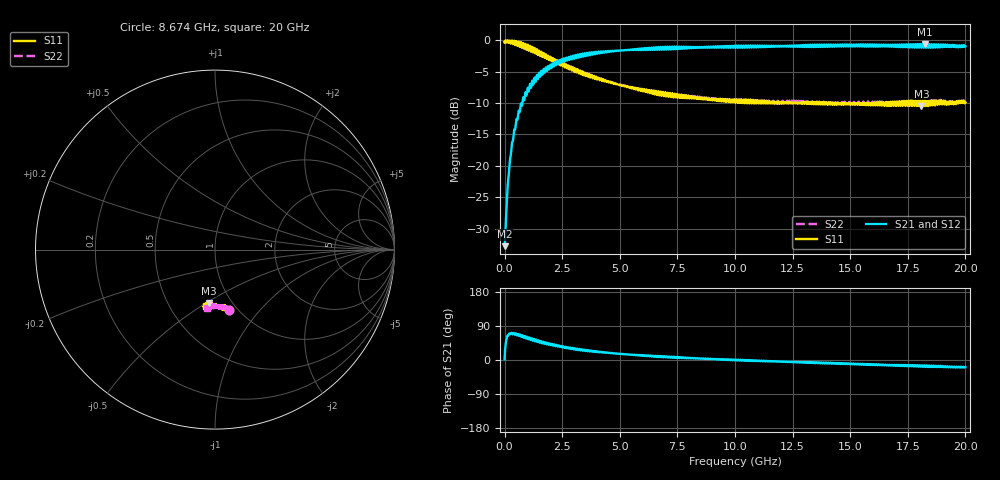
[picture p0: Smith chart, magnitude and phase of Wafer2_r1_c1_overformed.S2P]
!  2-Port S-parameters saved by WinCal
! VAR MeasName=S-Parameters (CALIBRATED_DATA) read from VNA (P5004A)
! VAR MeasDate=24/04/2024 15:08:49
! VAR NAME=Wafer2_r1_c1_overformed
! VAR FILENAME=Wafer2_r1_c1_overformed.S2P
! VAR DATE=24/04/2024 15:08:49
! VAR PHYS_PORTS=1,2
! VAR ObjTypeName=DATASET
! VAR IndexType=Frequency
# Hz S MA R 50
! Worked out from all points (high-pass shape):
!   4999 points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, 4.01 MHz to 20 GHz, reference 50 ohm
!   highest |S21| = -0.62 dB at 18.24 GHz (marker M1); lowest = -32.7 dB at 4.01 MHz (marker M2)
!   |S21| within 3 dB of the highest: 2.347 GHz to 2.427 GHz (79.17 MHz wide, 3.32 % of centre); 2.43 GHz to end of sweep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
!   lowest |S11| = -10.5 dB at 18.09 GHz (marker M3), VSWR 1.85, Z = 39.3 - j25.6 ohm
!   |S11| at or under -10 dB: 14.75 GHz to 15.25 GHz (493.3 MHz wide, 3.29 % of centre); 15.25 GHz to 15.35 GHz (100.7 MHz wide, 0.658 % of centre); 15.35 GHz to 15.74 GHz (392.7 MHz wide, 2.53 % of centre)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
!   |S22| runs from -10.3 to -0.1 dB; largest |S21 - S12| = 0.014
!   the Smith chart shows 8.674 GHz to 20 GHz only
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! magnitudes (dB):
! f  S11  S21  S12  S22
! 4.01 MHz  -0.3  -32.7  -32.6  -0.3
! 60.02 MHz  -0.2  -28.6  -28.7  -0.2
! 144 MHz  -0.1  -22.9  -23.0  -0.1
! 188 MHz  -0.4  -21.2  -21.1  -0.4
! 244.1 MHz  -0.2  -18.8  -18.9  -0.2
! 324.1 MHz  -0.1  -16.4  -16.4  -0.1
! 428.1 MHz  -0.2  -14.2  -14.2  -0.2
! 536.1 MHz  -0.5  -12.6  -12.6  -0.5
! 668.1 MHz  -1.0  -11.3  -11.3  -1.0
! 836.2 MHz  -1.0  -9.4  -9.4  -1.0
! 1.248 GHz  -2.0  -7.1  -7.0  -2.0
! 1.752 GHz  -2.8  -5.1  -5.1  -2.8
! 2.428 GHz  -4.0  -3.6  -3.6  -4.0
! 3.341 GHz  -5.3  -2.5  -2.5  -5.3
! 4.801 GHz  -6.9  -1.7  -1.7  -6.8
! 6.673 GHz  -8.1  -1.1  -1.1  -8.2
! 10 GHz  -9.8  -1.2  -1.2  -9.7
! 13.33 GHz  -10.0  -1.0  -1.0  -9.9
! 16.67 GHz  -10.3  -0.9  -0.9  -9.9
! 18.09 GHz  -10.5  -1.2  -1.2  -10.1
! 18.24 GHz  -9.6  -0.6  -0.6  -9.7
! 20 GHz  -9.9  -1.0  -1.0  -9.7
